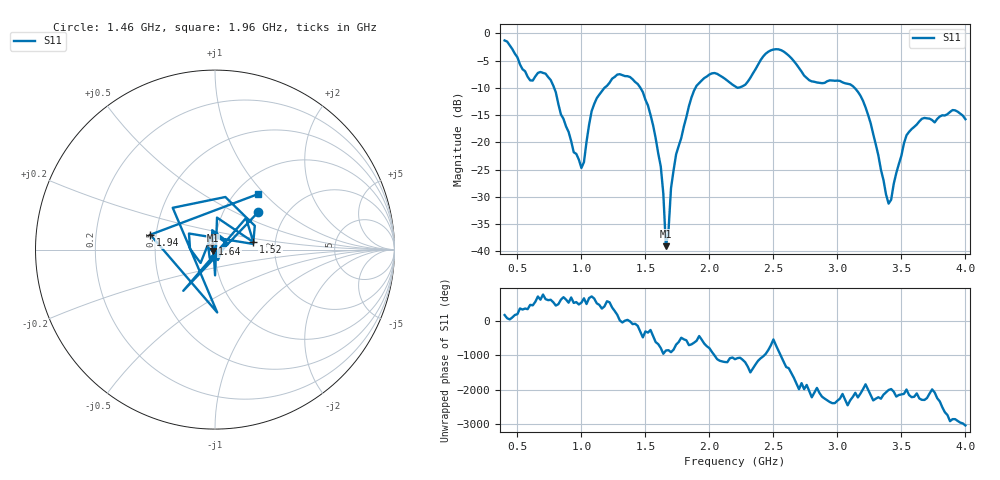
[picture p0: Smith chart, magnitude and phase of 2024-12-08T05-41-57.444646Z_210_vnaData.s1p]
!Created with skrf (http://scikit-rf.org).
# Hz S RI R 50.0
!freq ReS11 ImS11
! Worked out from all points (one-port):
!   181 points, 400 MHz to 4 GHz, reference 50 ohm
!   lowest |S11| = -39.1 dB at 1.66 GHz (marker M1), VSWR 1.02, Z = 49.1 - j0.597 ohm
!   |S11| at or under -10 dB: 787.1 MHz to 1.18 GHz (392.6 MHz wide, 39.9 % of centre); 1.461 GHz to 1.891 GHz (429.7 MHz wide, 25.6 % of centre); 3.135 GHz to end of sweep
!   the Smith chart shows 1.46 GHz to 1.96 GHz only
!   S11 on the Smith chart (normalised r, x): 1.46 GHz: 1.45, +0.67; 1.52 GHz: 1.54, +0.13; 1.64 GHz: 0.97, +0.06; 1.94 GHz: 0.46, +0.09; 1.96 GHz: 1.25, +0.91
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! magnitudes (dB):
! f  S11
! 400 MHz  -1.3
! 600 MHz  -8.6
! 760 MHz  -8.6
! 860 MHz  -15.7
! 1 GHz  -24.7
! 1.1 GHz  -13.0
! 1.3 GHz  -7.5
! 1.46 GHz  -9.9
! 1.52 GHz  -13.2
! 1.62 GHz  -24.4
! 1.64 GHz  -29.4
! 1.66 GHz  -39.1
! 1.68 GHz  -36.4
! 1.7 GHz  -28.4
! 1.76 GHz  -20.7
! 1.86 GHz  -11.8
! 1.94 GHz  -8.6
! 1.96 GHz  -8.2
! 2.2 GHz  -9.7
! 2.48 GHz  -3.1
! 2.66 GHz  -5.1
! 2.8 GHz  -8.8
! 3.1 GHz  -9.3
! 3.24 GHz  -15.0
! 3.4 GHz  -31.2
! 3.56 GHz  -18.1
! 3.9 GHz  -14.1
! 4 GHz  -15.7
